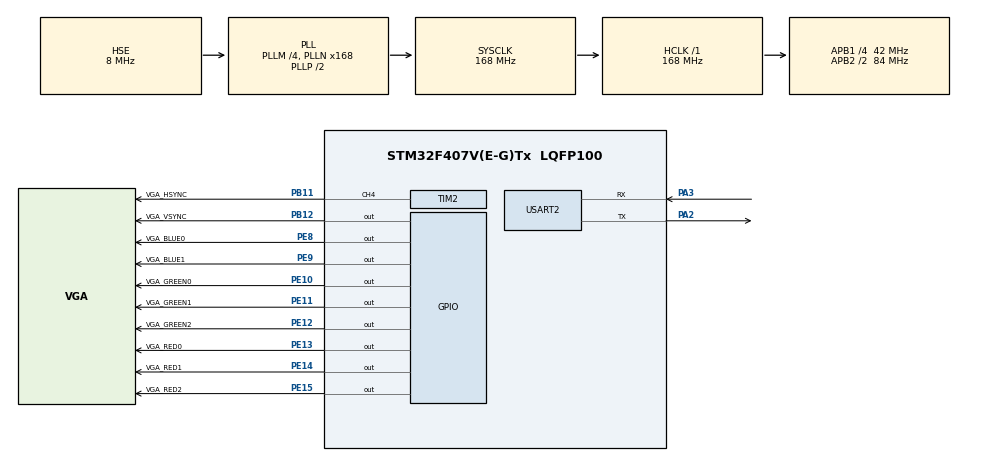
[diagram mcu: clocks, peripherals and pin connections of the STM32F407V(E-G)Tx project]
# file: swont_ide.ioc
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Dma.Request0=TIM1_UP
Dma.TIM1_UP.0.Direction=DMA_MEMORY_TO_PERIPH
Dma.TIM1_UP.0.FIFOMode=DMA_FIFOMODE_DISABLE
Dma.TIM1_UP.0.Instance=DMA2_Stream5
Dma.TIM1_UP.0.MemDataAlignment=DMA_MDATAALIGN_BYTE
Dma.TIM1_UP.0.MemInc=DMA_MINC_ENABLE
Dma.TIM1_UP.0.Mode=DMA_NORMAL
Dma.TIM1_UP.0.PeriphDataAlignment=DMA_PDATAALIGN_BYTE
Dma.TIM1_UP.0.PeriphInc=DMA_PINC_DISABLE
Dma.TIM1_UP.0.Priority=DMA_PRIORITY_VERY_HIGH
Mcu.Family=STM32F4
Mcu.Name=STM32F407V(E-G)Tx
Mcu.Package=LQFP100
NVIC.DMA2_Stream5_IRQn=true\:0\:0\:false\:false\:true\:false\:true
NVIC.PriorityGroup=NVIC_PRIORITYGROUP_4
NVIC.TIM2_IRQn=true\:0\:0\:true\:false\:true\:true\:true
NVIC.USART2_IRQn=true\:0\:0\:false\:false\:true\:true\:true
PA13.Mode=Serial_Wire
PA13.Signal=SYS_JTMS-SWDIO
PA14.Mode=Serial_Wire
PA14.Signal=SYS_JTCK-SWCLK
PA2.Mode=Asynchronous
PA2.Signal=USART2_TX
PA3.Mode=Asynchronous
PA3.Signal=USART2_RX
PB11.GPIO_Label=VGA_HSYNC
PB11.GPIO_Speed=GPIO_SPEED_FREQ_VERY_HIGH
PB11.Signal=S_TIM2_CH4
PB12.GPIO_Label=VGA_VSYNC
PB12.GPIO_PuPd=GPIO_NOPULL
PB12.GPIO_Speed=GPIO_SPEED_FREQ_VERY_HIGH
PB12.Signal=GPIO_Output
PE10.GPIO_Label=VGA_GREEN0
PE10.GPIO_PuPd=GPIO_NOPULL
PE10.GPIO_Speed=GPIO_SPEED_FREQ_VERY_HIGH
PE10.Signal=GPIO_Output
PE11.GPIO_Label=VGA_GREEN1
PE11.GPIO_PuPd=GPIO_NOPULL
PE11.GPIO_Speed=GPIO_SPEED_FREQ_VERY_HIGH
PE11.Signal=GPIO_Output
PE12.GPIO_Label=VGA_GREEN2
PE12.GPIO_PuPd=GPIO_NOPULL
PE12.GPIO_Speed=GPIO_SPEED_FREQ_VERY_HIGH
PE12.Signal=GPIO_Output
PE13.GPIO_Label=VGA_RED0
PE13.GPIO_PuPd=GPIO_NOPULL
PE13.GPIO_Speed=GPIO_SPEED_FREQ_VERY_HIGH
PE13.Signal=GPIO_Output
PE14.GPIO_Label=VGA_RED1
PE14.GPIO_PuPd=GPIO_NOPULL
PE14.GPIO_Speed=GPIO_SPEED_FREQ_VERY_HIGH
PE14.Signal=GPIO_Output
PE15.GPIO_Label=VGA_RED2
PE15.GPIO_PuPd=GPIO_NOPULL
PE15.GPIO_Speed=GPIO_SPEED_FREQ_VERY_HIGH
PE15.Signal=GPIO_Output
PE8.GPIO_Label=VGA_BLUE0
PE8.GPIO_PuPd=GPIO_NOPULL
PE8.GPIO_Speed=GPIO_SPEED_FREQ_VERY_HIGH
PE8.Signal=GPIO_Output
PE9.GPIO_Label=VGA_BLUE1
PE9.GPIO_PuPd=GPIO_NOPULL
PE9.GPIO_Speed=GPIO_SPEED_FREQ_VERY_HIGH
PE9.Signal=GPIO_Output
PH0-OSC_IN.Mode=HSE-External-Oscillator
PH0-OSC_IN.Signal=RCC_OSC_IN
PH1-OSC_OUT.Mode=HSE-External-Oscillator
PH1-OSC_OUT.Signal=RCC_OSC_OUT
ProjectManager.HeapSize=0x200
ProjectManager.StackSize=0x400
ProjectManager.TargetToolchain=STM32CubeIDE
RCC.48MHZClocksFreq_Value=84000000
RCC.AHBFreq_Value=168000000
RCC.APB1CLKDivider=RCC_HCLK_DIV4
RCC.APB1Freq_Value=42000000
RCC.APB1TimFreq_Value=84000000
RCC.APB2CLKDivider=RCC_HCLK_DIV2
RCC.APB2Freq_Value=84000000
RCC.APB2TimFreq_Value=168000000
RCC.CortexFreq_Value=168000000
RCC.HCLKFreq_Value=168000000
RCC.HSE_VALUE=8000000
RCC.HSI_VALUE=16000000
RCC.LSE_VALUE=32768
RCC.PLLM=4
RCC.PLLN=168
RCC.PLLSourceVirtual=RCC_PLLSOURCE_HSE
RCC.SYSCLKFreq_VALUE=168000000
RCC.SYSCLKSource=RCC_SYSCLKSOURCE_PLLCLK
RCC.VCOOutputFreq_Value=336000000
SH.S_TIM2_CH4.0=TIM2_CH4,PWM Generation4 CH4
TIM1.Period=VGA_TIM1_PERIODE
TIM1.Prescaler=VGA_TIM1_PRESCALE
TIM2.AutoReloadPreload=TIM_AUTORELOAD_PRELOAD_DISABLE
TIM2.Channel-PWM\ Generation3\ No\ Output=TIM_CHANNEL_3
TIM2.Channel-PWM\ Generation4\ CH4=TIM_CHANNEL_4
TIM2.OCPolarity_3=TIM_OCPOLARITY_LOW
TIM2.OCPolarity_4=TIM_OCPOLARITY_LOW
TIM2.Period=VGA_TIM2_HSYNC_PERIODE
TIM2.Prescaler=VGA_TIM2_HSYNC_PRESCALE
TIM2.Pulse-PWM\ Generation3\ No\ Output=VGA_TIM2_HTRIGGER_START - VGA_TIM2_DMA_DELAY
TIM2.Pulse-PWM\ Generation4\ CH4=VGA_TIM2_HSYNC_IMP
USART2.VirtualMode=VM_ASYNC
VP_TIM1_VS_ClockSourceINT.Mode=Internal
VP_TIM2_VS_no_output3.Mode=PWM Generation3 No Output
board=custom

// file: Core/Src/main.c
/* USER CODE BEGIN Header */
/**
  ******************************************************************************
  * @file           : main.c
  * @brief          : Main program body
  ******************************************************************************
  * @attention
  *
  * <h2><center>&copy; Copyright (c) 2020 STMicroelectronics.
  * All rights reserved.</center></h2>
  *
  * This software component is licensed by ST under BSD 3-Clause license,
  * the "License"; You may not use this file except in compliance with the
  * License. You may obtain a copy of the License at:
  *                        opensource.org/licenses/BSD-3-Clause
  *
  ******************************************************************************
  */
/* USER CODE END Header */
#include "front_layer.h"
#include "main.h"
#include "dma.h"
#include "tim.h"
#include "usart.h"
#include "gpio.h"
#include "logic_layer.h"
#include "bitmap.h"

/* USER CODE BEGIN PV */
input_vars input;

volatile char container[1024];
volatile int temp;
volatile int key;

/* USER CODE END PV */

void SystemClock_Config(void);

int main(void)
{

  /* MCU Configuration--------------------------------------------------------*/

  /* Reset of all peripherals, Initializes the Flash interface and the Systick. */
  HAL_Init();

  /* Configure the system clock */
  SystemClock_Config();

  /* Initialize all configured peripherals */
  MX_GPIO_Init();
  MX_DMA_Init();
  MX_TIM1_Init();
  MX_TIM2_Init();
  MX_USART2_UART_Init();
  /* USER CODE BEGIN 2 */

  UB_VGA_Screen_Init(); // Init VGA-Screen
  Bitmap_init();		// Init Bitmap

  UB_VGA_FillScreen(VGA_COL_WHITE);

  int i;
  for(i = 0; i < LINE_BUFLEN; i++)
	  input.line_rx_buffer[i] = 0;

  // Reset some stuff
  input.byte_buffer_rx[0] = 0;
  input.char_counter = 0;
  input.command_execute_flag = FALSE;

  // HAl wants a memory location to store the charachter it receives from the UART
  // We will pass it an array, but we will not use it. We declare our own variable in the interupt handler
  // See stm32f4xx_it.c
  HAL_UART_Receive_IT(&huart2, input.byte_buffer_rx, BYTE_BUFLEN);

  /* USER CODE END 2 */

  /* Infinite loop */
  /* USER CODE BEGIN WHILE */
  while (1)
  {
	  if(input.command_execute_flag == TRUE)
	  {
		  FL_Input();	  // start front layer
		  LL_Main();	  // start logic layer

		  // When finished reset the flag
		  input.command_execute_flag = FALSE;
	  }
    /* USER CODE END WHILE */

  }
}

void SystemClock_Config(void)
{
  RCC_OscInitTypeDef RCC_OscInitStruct = {0};
  RCC_ClkInitTypeDef RCC_ClkInitStruct = {0};

  /** Configure the main internal regulator output voltage
  */
  __HAL_RCC_PWR_CLK_ENABLE();
  __HAL_PWR_VOLTAGESCALING_CONFIG(PWR_REGULATOR_VOLTAGE_SCALE1);
  /** Initializes the RCC Oscillators according to the specified parameters
  * in the RCC_OscInitTypeDef structure.
  */
  RCC_OscInitStruct.OscillatorType = RCC_OSCILLATORTYPE_HSE;
  RCC_OscInitStruct.HSEState = RCC_HSE_ON;
  RCC_OscInitStruct.PLL.PLLState = RCC_PLL_ON;
  RCC_OscInitStruct.PLL.PLLSource = RCC_PLLSOURCE_HSE;
  RCC_OscInitStruct.PLL.PLLM = 4;
  RCC_OscInitStruct.PLL.PLLN = 168;
  RCC_OscInitStruct.PLL.PLLP = RCC_PLLP_DIV2;
  RCC_OscInitStruct.PLL.PLLQ = 4;
  if (HAL_RCC_OscConfig(&RCC_OscInitStruct) != HAL_OK)
  {
    Error_Handler();
  }
  /** Initializes the CPU, AHB and APB buses clocks
  */
  RCC_ClkInitStruct.ClockType = RCC_CLOCKTYPE_HCLK|RCC_CLOCKTYPE_SYSCLK
                              |RCC_CLOCKTYPE_PCLK1|RCC_CLOCKTYPE_PCLK2;
  RCC_ClkInitStruct.SYSCLKSource = RCC_SYSCLKSOURCE_PLLCLK;
  RCC_ClkInitStruct.AHBCLKDivider = RCC_SYSCLK_DIV1;
  RCC_ClkInitStruct.APB1CLKDivider = RCC_HCLK_DIV4;
  RCC_ClkInitStruct.APB2CLKDivider = RCC_HCLK_DIV2;

  if (HAL_RCC_ClockConfig(&RCC_ClkInitStruct, FLASH_LATENCY_5) != HAL_OK)
  {
    Error_Handler();
  }
}

/* USER CODE BEGIN 4 */

#ifdef __GNUC__
	#define USART_PRINTF int __io_putchar(int ch)		//With GCC/RAISONANCE printf calls __io_putchar()
#else
	#define USART_PRINTF int fputc(int ch, FILE *f)		//With other compiler printf calls fputc()
#endif /* __GNUC__ */

//Retargets the C library printf function to the USART
USART_PRINTF
{
	HAL_UART_Transmit(&huart2, (uint8_t *)&ch, 1, 0xFFFF);	//Write character to UART2
	return ch;												//Return the character
}

/* USER CODE END 4 */

void Error_Handler(void)
{
}

/************************ (C) COPYRIGHT STMicroelectronics *****END OF FILE****/
